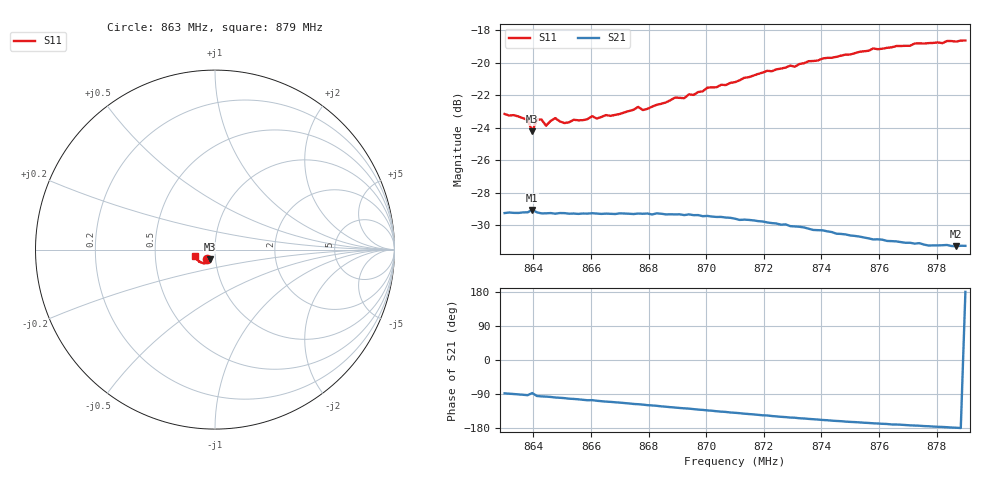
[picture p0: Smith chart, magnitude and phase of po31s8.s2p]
# HZ S RI R 50
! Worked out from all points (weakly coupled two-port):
!   101 points, 863 MHz to 879 MHz, reference 50 ohm
!   highest |S21| = -29.06 dB at 863.96 MHz (marker M1); lowest = -31.3 dB at 878.68 MHz (marker M2)
!   lowest |S11| = -24.2 dB at 863.96 MHz (marker M3), VSWR 1.13, Z = 46.8 - j5.01 ohm
!   |S11| at or under -10 dB: start of sweep to end of sweep
!   S12 and S22 are empty: the file has one direction only
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8.63e8  -0.044 -0.0539  0.00127 -0.0344  0 0  0 0
8.638e8  -0.0404 -0.053  -0.00171 -0.0346  0 0  0 0
8.6396e8  -0.0306 -0.0534  0.00171 -0.0352  0 0  0 0
8.6412e8  -0.0397 -0.0537  -0.00299 -0.0345  0 0  0 0
8.6428e8  -0.0377 -0.0553  -0.00358 -0.0342  0 0  0 0
8.6444e8  -0.0362 -0.0528  -0.00397 -0.0342  0 0  0 0
8.6476e8  -0.0388 -0.0553  -0.00535 -0.0339  0 0  0 0
8.6508e8  -0.0341 -0.0556  -0.00636 -0.0338  0 0  0 0
8.6572e8  -0.0336 -0.0575  -0.0089 -0.0332  0 0  0 0
8.67e8  -0.035 -0.0601  -0.0131 -0.0318  0 0  0 0
8.6764e8  -0.0364 -0.0635  -0.0154 -0.0307  0 0  0 0
8.678e8  -0.0343 -0.0627  -0.0159 -0.0303  0 0  0 0
8.6844e8  -0.0363 -0.0654  -0.0183 -0.029  0 0  0 0
8.6892e8  -0.0378 -0.0684  -0.0198 -0.0278  0 0  0 0
8.6924e8  -0.0379 -0.068  -0.0207 -0.0269  0 0  0 0
8.7004e8  -0.0424 -0.0723  -0.023 -0.0247  0 0  0 0
8.71e8  -0.047 -0.0735  -0.0251 -0.0216  0 0  0 0
8.7212e8  -0.0561 -0.076  -0.0268 -0.0179  0 0  0 0
8.7372e8  -0.0686 -0.0746  -0.028 -0.0123  0 0  0 0
8.7644e8  -0.0929 -0.0619  -0.0278 -0.00485  0 0  0 0
8.7868e8  -0.1083 -0.0424  -0.0272 -0.000597  0 0  0 0
8.79e8  -0.1108 -0.0383  -0.0273 0.000101  0 0  0 0
